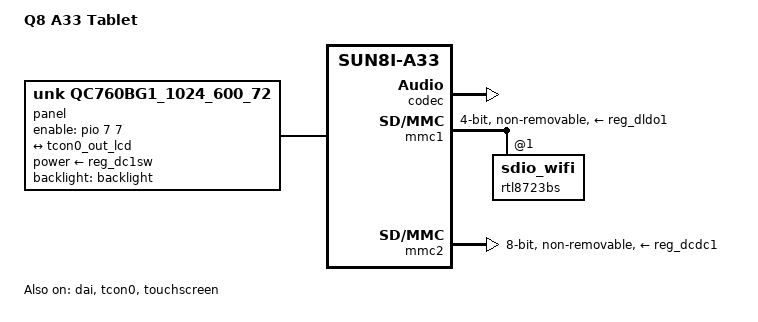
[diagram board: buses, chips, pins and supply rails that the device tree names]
/*
 * Copyright 2015 Hans de Goede <hdegoede@redhat.com>
 *
 * This file is dual-licensed: you can use it either under the terms
 * of the GPL or the X11 license, at your option. Note that this dual
 * licensing only applies to this file, and not this project as a
 * whole.
 *
 *  a) This file is free software; you can redistribute it and/or
 *     modify it under the terms of the GNU General Public License as
 *     published by the Free Software Foundation; either version 2 of the
 *     License, or (at your option) any later version.
 *
 *     This file is distributed in the hope that it will be useful,
 *     but WITHOUT ANY WARRANTY; without even the implied warranty of
 *     MERCHANTABILITY or FITNESS FOR A PARTICULAR PURPOSE.  See the
 *     GNU General Public License for more details.
 *
 * Or, alternatively,
 *
 *  b) Permission is hereby granted, free of charge, to any person
 *     obtaining a copy of this software and associated documentation
 *     files (the "Software"), to deal in the Software without
 *     restriction, including without limitation the rights to use,
 *     copy, modify, merge, publish, distribute, sublicense, and/or
 *     sell copies of the Software, and to permit persons to whom the
 *     Software is furnished to do so, subject to the following
 *     conditions:
 *
 *     The above copyright notice and this permission notice shall be
 *     included in all copies or substantial portions of the Software.
 *
 *     THE SOFTWARE IS PROVIDED "AS IS", WITHOUT WARRANTY OF ANY KIND,
 *     EXPRESS OR IMPLIED, INCLUDING BUT NOT LIMITED TO THE WARRANTIES
 *     OF MERCHANTABILITY, FITNESS FOR A PARTICULAR PURPOSE AND
 *     NONINFRINGEMENT. IN NO EVENT SHALL THE AUTHORS OR COPYRIGHT
 *     HOLDERS BE LIABLE FOR ANY CLAIM, DAMAGES OR OTHER LIABILITY,
 *     WHETHER IN AN ACTION OF CONTRACT, TORT OR OTHERWISE, ARISING
 *     FROM, OUT OF OR IN CONNECTION WITH THE SOFTWARE OR THE USE OR
 *     OTHER DEALINGS IN THE SOFTWARE.
 */

/dts-v1/;
#include "sun8i-a33.dtsi"
#include "sun8i-q8-common.dtsi"

/ {
	model = "Q8 A33 Tablet";
	compatible = "allwinner,q8-a33", "allwinner,sun8i-a33";

    panel: panel {
            /* compatible should be set according to the panel */
            compatible = "unk,qc760bg1_1024_600_72";
            pinctrl-names = "default";
            pinctrl-0 = <&lcd_en_q8>;
            backlight = <&backlight>;
            enable-gpios = <&pio 7 7 GPIO_ACTIVE_HIGH>; /* PH7 */
            power-supply = <&reg_dc1sw>;
            status = "ok";
            #address-cells = <1>;
            #size-cells = <0>;

            port@0 {
                    reg = <0>;
                    #address-cells = <1>;
                    #size-cells = <0>;

                    panel_input: endpoint@0 {
                            reg = <0>;
                            remote-endpoint = <&tcon0_out_lcd>;
                    };
            };
        };
};

&codec {
        status = "okay";
};

&dai {
        status = "okay";
};

&sound {
        status = "okay";
};

&tcon0 {
        pinctrl-names = "default";
        pinctrl-0 = <&lcd_rgb666_pins>;
        status = "okay";
};

&tcon0_out {
        tcon0_out_lcd: endpoint@0 {
                reg = <0>;
                remote-endpoint = <&panel_input>;
        };
};

&pio {
        lcd_en_q8: lcd_en@0 {
                // allwinner,pins = "PH7";
                // allwinner,function = "gpio_out";
                // allwinner,drive = <SUN4I_PINCTRL_10_MA>;
                // allwinner,pull = <SUN4I_PINCTRL_NO_PULL>;
				pins = "PH7";
				function = "gpio_out";
				drive-strength = <10>;
				bias-no-pull;
        };
};

&touchscreen {
        reg = <0x40>;
        compatible = "silead,gsl1680";
        //firmware-name = "U701C_GSL168XX_PG_6001024.fw";
        firmware-name = "gsl1680-b482-q8-a70.fw";
        touchscreen-size-x = <1024>;
        touchscreen-size-y = <600>;
	touchscreen-inverted-x;
        //touchscreen-size-x = <960>;
        //touchscreen-size-y = <640>;
	vddio-supply = <&reg_ldo_io1>;
        status = "okay";
};

&mmc1_pins_a {
        // allwinner,pull = <SUN4I_PINCTRL_PULL_UP>;
		bias-pull-up;
};

&mmc1 {
        pinctrl-names = "default";
        pinctrl-0 = <&mmc1_pins_a>;
        vmmc-supply = <&reg_dldo1>;
        bus-width = <4>;
        non-removable;
        status = "okay";

        rtl8723bs: sdio_wifi@1 {
                reg = <1>;
        };
};


&mmc2 {
        pinctrl-names = "default";
        pinctrl-0 = <&mmc2_8bit_pins>;
        vmmc-supply = <&reg_dcdc1>;
        bus-width = <8>;
        non-removable;
        cap-mmc-hw-reset;
        status = "okay";
};

&mmc2_8bit_pins {
        /* Increase drive strength for DDR modes */
        drive-strength = <40>;
        /* eMMC is missing pull-ups */
        bias-pull-up;
};
